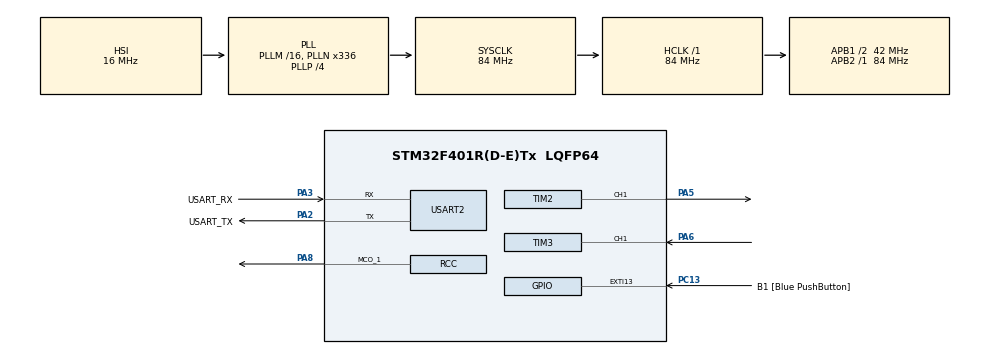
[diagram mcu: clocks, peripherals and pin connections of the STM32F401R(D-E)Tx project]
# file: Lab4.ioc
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Mcu.Family=STM32F4
Mcu.Name=STM32F401R(D-E)Tx
Mcu.Package=LQFP64
NVIC.PriorityGroup=NVIC_PRIORITYGROUP_4
NVIC.TIM1_UP_TIM10_IRQn=true\:0\:0\:false\:false\:true\:true\:true\:true
NVIC.TIM3_IRQn=true\:0\:0\:false\:false\:true\:true\:true\:true
PA13.GPIO_Label=TMS
PA13.Mode=Trace_Asynchronous_SW
PA13.Signal=SYS_JTMS-SWDIO
PA14.GPIO_Label=TCK
PA14.Mode=Trace_Asynchronous_SW
PA14.Signal=SYS_JTCK-SWCLK
PA2.GPIO_Label=USART_TX
PA2.GPIO_Mode=GPIO_MODE_AF_PP
PA2.GPIO_PuPd=GPIO_NOPULL
PA2.GPIO_Speed=GPIO_SPEED_FREQ_LOW
PA2.Mode=Asynchronous
PA2.Signal=USART2_TX
PA3.GPIO_Label=USART_RX
PA3.GPIO_Mode=GPIO_MODE_AF_PP
PA3.GPIO_PuPd=GPIO_NOPULL
PA3.GPIO_Speed=GPIO_SPEED_FREQ_LOW
PA3.Mode=Asynchronous
PA3.Signal=USART2_RX
PA5.Signal=S_TIM2_CH1_ETR
PA6.GPIO_PuPd=GPIO_PULLDOWN
PA6.Signal=S_TIM3_CH1
PA8.Mode=Clock-out-1
PA8.Signal=RCC_MCO_1
PB3.GPIO_Label=SWO
PB3.Mode=Trace_Asynchronous_SW
PB3.Signal=SYS_JTDO-SWO
PC13-ANTI_TAMP.GPIO_Label=B1 [Blue PushButton]
PC13-ANTI_TAMP.GPIO_ModeDefaultEXTI=GPIO_MODE_IT_FALLING
PC13-ANTI_TAMP.GPIO_PuPd=GPIO_NOPULL
PC13-ANTI_TAMP.Signal=GPXTI13
PC14-OSC32_IN.Mode=LSE-External-Oscillator
PC14-OSC32_IN.Signal=RCC_OSC32_IN
PC15-OSC32_OUT.Mode=LSE-External-Oscillator
PC15-OSC32_OUT.Signal=RCC_OSC32_OUT
PH0\ -\ OSC_IN.Mode=HSE-External-Clock-Source
PH0\ -\ OSC_IN.Signal=RCC_OSC_IN
PH1\ -\ OSC_OUT.Mode=HSE-External-Clock-Source
PH1\ -\ OSC_OUT.Signal=RCC_OSC_OUT
ProjectManager.HeapSize=0x200
ProjectManager.StackSize=0x400
ProjectManager.TargetToolchain=STM32CubeIDE
RCC.48MHZClocksFreq_Value=48000000
RCC.AHBFreq_Value=84000000
RCC.APB1CLKDivider=RCC_HCLK_DIV2
RCC.APB1Freq_Value=42000000
RCC.APB1TimFreq_Value=84000000
RCC.APB2Freq_Value=84000000
RCC.APB2TimFreq_Value=84000000
RCC.CortexFreq_Value=84000000
RCC.HCLKFreq_Value=84000000
RCC.HSE_VALUE=8000000
RCC.HSI_VALUE=16000000
RCC.PLLN=336
RCC.PLLP=RCC_PLLP_DIV4
RCC.PLLQ=7
RCC.SYSCLKFreq_VALUE=84000000
RCC.SYSCLKSource=RCC_SYSCLKSOURCE_PLLCLK
RCC.VCOOutputFreq_Value=336000000
SH.S_TIM2_CH1_ETR.0=TIM2_CH1,PWM Generation1 CH1
SH.S_TIM3_CH1.0=TIM3_CH1,Input_Capture1_from_TI1
TIM10.Prescaler=8399
TIM2.Channel-PWM\ Generation1\ CH1=TIM_CHANNEL_1
TIM2.Period=1999
TIM2.Prescaler=5
TIM2.Pulse-PWM\ Generation1\ CH1=1000
TIM3.Channel-Input_Capture1_from_TI1=TIM_CHANNEL_1
USART2.VirtualMode=VM_ASYNC
VP_TIM10_VS_ClockSourceINT.Mode=Enable_Timer
VP_TIM2_VS_ClockSourceINT.Mode=Internal
VP_TIM3_VS_ClockSourceINT.Mode=Internal
board=NUCLEO-F401RE

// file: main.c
/* USER CODE BEGIN Header */
/**
  ******************************************************************************
  * @file           : main.c
  * @brief          : Main program body
  ******************************************************************************
  * @attention
  *
  * Copyright (c) 2026 STMicroelectronics.
  * All rights reserved.
  *
  * This software is licensed under terms that can be found in the LICENSE file
  * in the root directory of this software component.
  * If no LICENSE file comes with this software, it is provided AS-IS.
  *
  ******************************************************************************
  */
/* USER CODE END Header */
#include "main.h"

/* USER CODE BEGIN Includes */
#include <stdio.h>
/* USER CODE END Includes */

TIM_HandleTypeDef htim2;
TIM_HandleTypeDef htim3;
TIM_HandleTypeDef htim10;

UART_HandleTypeDef huart2;

/* USER CODE BEGIN PV */
uint32_t IC_Value1 = 0;
uint32_t IC_Value2 = 0;
uint32_t Difference = 0;
uint32_t Frequency = 0;
uint8_t Is_First_Captured = 0;
uint32_t LastCaptureTime = 0;

char command_buffer[50]; // Bufor na tekst komendy
int set_freq = 0;        // Częstotliwość zadana przez usera
int set_duty = 0;        // Wypełnienie zadane przez usera
uint32_t timer_clock = 84000000;
/* USER CODE END PV */

void SystemClock_Config(void);
static void MX_GPIO_Init(void);
static void MX_USART2_UART_Init(void);
static void MX_TIM2_Init(void);
static void MX_TIM3_Init(void);
static void MX_TIM10_Init(void);
/* USER CODE BEGIN PFP */
int _write(int file, char *ptr, int len) {
    HAL_UART_Transmit(&huart2, (uint8_t*)ptr, len, 50);
    return len;
}

int _read(int file, char *ptr, int len) {
    HAL_StatusTypeDef status = HAL_UART_Receive(&huart2, (uint8_t*)ptr, 1, HAL_MAX_DELAY);
    if (status == HAL_OK) {
        return 1;
    }
    return 0;
}
/* USER CODE END PFP */

int main(void)
{

  /* MCU Configuration--------------------------------------------------------*/

  /* Reset of all peripherals, Initializes the Flash interface and the Systick. */
  HAL_Init();

  /* Configure the system clock */
  SystemClock_Config();

  /* Initialize all configured peripherals */
  MX_GPIO_Init();
  MX_USART2_UART_Init();
  MX_TIM2_Init();
  MX_TIM3_Init();
  MX_TIM10_Init();
  /* USER CODE BEGIN 2 */
  HAL_TIM_PWM_Start(&htim2, TIM_CHANNEL_1);
    __HAL_TIM_SET_COMPARE(&htim2, TIM_CHANNEL_1, 500);

    HAL_TIM_IC_Start_IT(&htim3, TIM_CHANNEL_1);
  /* USER CODE END 2 */

  /* Infinite loop */
    /* USER CODE BEGIN WHILE */
      while (1)
      {
        scanf("%s %d %d", command_buffer, &set_freq, &set_duty);

        if (strcmp(command_buffer, "Generate") == 0)
        {
            if (set_freq < 1) set_freq = 1;
            if (set_duty < 0) set_duty = 0;
            if (set_duty > 100) set_duty = 100;

            uint32_t new_arr = (timer_clock / set_freq) - 1;

            uint32_t new_ccr = (new_arr + 1) * set_duty / 100;

            __HAL_TIM_SET_AUTORELOAD(&htim2, new_arr);
            __HAL_TIM_SET_COMPARE(&htim2, TIM_CHANNEL_1, new_ccr);

            __HAL_TIM_SET_COUNTER(&htim2, 0);

            printf("\r\Ustawiono: %d Hz, %d%%\r\n", set_freq, set_duty);
        }
        else
        {
            printf("\r\nNieznana komenda. Sprobuj: Generate 1000 50\r\n");
        }

        HAL_Delay(100);
        printf(">> POMIAR: Freq = %lu Hz\r\n", Frequency);

        memset(command_buffer, 0, sizeof(command_buffer));

    /* USER CODE END WHILE */

  }
}

void SystemClock_Config(void)
{
  RCC_OscInitTypeDef RCC_OscInitStruct = {0};
  RCC_ClkInitTypeDef RCC_ClkInitStruct = {0};

  /** Configure the main internal regulator output voltage
  */
  __HAL_RCC_PWR_CLK_ENABLE();
  __HAL_PWR_VOLTAGESCALING_CONFIG(PWR_REGULATOR_VOLTAGE_SCALE2);

  /** Initializes the RCC Oscillators according to the specified parameters
  * in the RCC_OscInitTypeDef structure.
  */
  RCC_OscInitStruct.OscillatorType = RCC_OSCILLATORTYPE_HSI;
  RCC_OscInitStruct.HSIState = RCC_HSI_ON;
  RCC_OscInitStruct.HSICalibrationValue = RCC_HSICALIBRATION_DEFAULT;
  RCC_OscInitStruct.PLL.PLLState = RCC_PLL_ON;
  RCC_OscInitStruct.PLL.PLLSource = RCC_PLLSOURCE_HSI;
  RCC_OscInitStruct.PLL.PLLM = 16;
  RCC_OscInitStruct.PLL.PLLN = 336;
  RCC_OscInitStruct.PLL.PLLP = RCC_PLLP_DIV4;
  RCC_OscInitStruct.PLL.PLLQ = 7;
  if (HAL_RCC_OscConfig(&RCC_OscInitStruct) != HAL_OK)
  {
    Error_Handler();
  }

  /** Initializes the CPU, AHB and APB buses clocks
  */
  RCC_ClkInitStruct.ClockType = RCC_CLOCKTYPE_HCLK|RCC_CLOCKTYPE_SYSCLK
                              |RCC_CLOCKTYPE_PCLK1|RCC_CLOCKTYPE_PCLK2;
  RCC_ClkInitStruct.SYSCLKSource = RCC_SYSCLKSOURCE_PLLCLK;
  RCC_ClkInitStruct.AHBCLKDivider = RCC_SYSCLK_DIV1;
  RCC_ClkInitStruct.APB1CLKDivider = RCC_HCLK_DIV2;
  RCC_ClkInitStruct.APB2CLKDivider = RCC_HCLK_DIV1;

  if (HAL_RCC_ClockConfig(&RCC_ClkInitStruct, FLASH_LATENCY_2) != HAL_OK)
  {
    Error_Handler();
  }
  HAL_RCC_MCOConfig(RCC_MCO1, RCC_MCO1SOURCE_HSI, RCC_MCODIV_1);
}

static void MX_TIM2_Init(void)
{

  TIM_ClockConfigTypeDef sClockSourceConfig = {0};
  TIM_MasterConfigTypeDef sMasterConfig = {0};
  TIM_OC_InitTypeDef sConfigOC = {0};

  htim2.Instance = TIM2;
  htim2.Init.Prescaler = 5;
  htim2.Init.CounterMode = TIM_COUNTERMODE_UP;
  htim2.Init.Period = 1999;
  htim2.Init.ClockDivision = TIM_CLOCKDIVISION_DIV1;
  htim2.Init.AutoReloadPreload = TIM_AUTORELOAD_PRELOAD_DISABLE;
  if (HAL_TIM_Base_Init(&htim2) != HAL_OK)
  {
    Error_Handler();
  }
  sClockSourceConfig.ClockSource = TIM_CLOCKSOURCE_INTERNAL;
  if (HAL_TIM_ConfigClockSource(&htim2, &sClockSourceConfig) != HAL_OK)
  {
    Error_Handler();
  }
  if (HAL_TIM_PWM_Init(&htim2) != HAL_OK)
  {
    Error_Handler();
  }
  sMasterConfig.MasterOutputTrigger = TIM_TRGO_RESET;
  sMasterConfig.MasterSlaveMode = TIM_MASTERSLAVEMODE_DISABLE;
  if (HAL_TIMEx_MasterConfigSynchronization(&htim2, &sMasterConfig) != HAL_OK)
  {
    Error_Handler();
  }
  sConfigOC.OCMode = TIM_OCMODE_PWM1;
  sConfigOC.Pulse = 1000;
  sConfigOC.OCPolarity = TIM_OCPOLARITY_HIGH;
  sConfigOC.OCFastMode = TIM_OCFAST_DISABLE;
  if (HAL_TIM_PWM_ConfigChannel(&htim2, &sConfigOC, TIM_CHANNEL_1) != HAL_OK)
  {
    Error_Handler();
  }
  HAL_TIM_MspPostInit(&htim2);

}

static void MX_TIM3_Init(void)
{

  TIM_ClockConfigTypeDef sClockSourceConfig = {0};
  TIM_MasterConfigTypeDef sMasterConfig = {0};
  TIM_IC_InitTypeDef sConfigIC = {0};

  htim3.Instance = TIM3;
  htim3.Init.Prescaler = 0;
  htim3.Init.CounterMode = TIM_COUNTERMODE_UP;
  htim3.Init.Period = 65535;
  htim3.Init.ClockDivision = TIM_CLOCKDIVISION_DIV1;
  htim3.Init.AutoReloadPreload = TIM_AUTORELOAD_PRELOAD_DISABLE;
  if (HAL_TIM_Base_Init(&htim3) != HAL_OK)
  {
    Error_Handler();
  }
  sClockSourceConfig.ClockSource = TIM_CLOCKSOURCE_INTERNAL;
  if (HAL_TIM_ConfigClockSource(&htim3, &sClockSourceConfig) != HAL_OK)
  {
    Error_Handler();
  }
  if (HAL_TIM_IC_Init(&htim3) != HAL_OK)
  {
    Error_Handler();
  }
  sMasterConfig.MasterOutputTrigger = TIM_TRGO_RESET;
  sMasterConfig.MasterSlaveMode = TIM_MASTERSLAVEMODE_DISABLE;
  if (HAL_TIMEx_MasterConfigSynchronization(&htim3, &sMasterConfig) != HAL_OK)
  {
    Error_Handler();
  }
  sConfigIC.ICPolarity = TIM_INPUTCHANNELPOLARITY_RISING;
  sConfigIC.ICSelection = TIM_ICSELECTION_DIRECTTI;
  sConfigIC.ICPrescaler = TIM_ICPSC_DIV1;
  sConfigIC.ICFilter = 0;
  if (HAL_TIM_IC_ConfigChannel(&htim3, &sConfigIC, TIM_CHANNEL_1) != HAL_OK)
  {
    Error_Handler();
  }

}

static void MX_TIM10_Init(void)
{

  htim10.Instance = TIM10;
  htim10.Init.Prescaler = 8399;
  htim10.Init.CounterMode = TIM_COUNTERMODE_UP;
  htim10.Init.Period = 65535;
  htim10.Init.ClockDivision = TIM_CLOCKDIVISION_DIV1;
  htim10.Init.AutoReloadPreload = TIM_AUTORELOAD_PRELOAD_DISABLE;
  if (HAL_TIM_Base_Init(&htim10) != HAL_OK)
  {
    Error_Handler();
  }

}

static void MX_USART2_UART_Init(void)
{

  huart2.Instance = USART2;
  huart2.Init.BaudRate = 115200;
  huart2.Init.WordLength = UART_WORDLENGTH_8B;
  huart2.Init.StopBits = UART_STOPBITS_1;
  huart2.Init.Parity = UART_PARITY_NONE;
  huart2.Init.Mode = UART_MODE_TX_RX;
  huart2.Init.HwFlowCtl = UART_HWCONTROL_NONE;
  huart2.Init.OverSampling = UART_OVERSAMPLING_16;
  if (HAL_UART_Init(&huart2) != HAL_OK)
  {
    Error_Handler();
  }

}

static void MX_GPIO_Init(void)
{
  GPIO_InitTypeDef GPIO_InitStruct = {0};

  /* GPIO Ports Clock Enable */
  __HAL_RCC_GPIOC_CLK_ENABLE();
  __HAL_RCC_GPIOH_CLK_ENABLE();
  __HAL_RCC_GPIOA_CLK_ENABLE();
  __HAL_RCC_GPIOB_CLK_ENABLE();

  /*Configure GPIO pin : B1_Pin */
  GPIO_InitStruct.Pin = B1_Pin;
  GPIO_InitStruct.Mode = GPIO_MODE_IT_FALLING;
  GPIO_InitStruct.Pull = GPIO_NOPULL;
  HAL_GPIO_Init(B1_GPIO_Port, &GPIO_InitStruct);

  /*Configure GPIO pin : PA8 */
  GPIO_InitStruct.Pin = GPIO_PIN_8;
  GPIO_InitStruct.Mode = GPIO_MODE_AF_PP;
  GPIO_InitStruct.Pull = GPIO_NOPULL;
  GPIO_InitStruct.Speed = GPIO_SPEED_FREQ_LOW;
  GPIO_InitStruct.Alternate = GPIO_AF0_MCO;
  HAL_GPIO_Init(GPIOA, &GPIO_InitStruct);

}

/* USER CODE BEGIN 4 */
void HAL_TIM_IC_CaptureCallback(TIM_HandleTypeDef *htim)
{
	if (htim->Channel == HAL_TIM_ACTIVE_CHANNEL_1)  // Sprawdzamy, czy to nasz kanał
	{
		if (Is_First_Captured == 0) // Pierwsze zbocze
		{
			IC_Value1 = HAL_TIM_ReadCapturedValue(htim, TIM_CHANNEL_1); // Zapisujemy czas startu
			Is_First_Captured = 1;  // Czekamy na drugie
		}
		else // Drugie zbocze
		{
			IC_Value2 = HAL_TIM_ReadCapturedValue(htim, TIM_CHANNEL_1); // Zapisujemy czas stopu

			if (IC_Value2 > IC_Value1)
			{
				Difference = IC_Value2 - IC_Value1;
			}
			else if (IC_Value1 > IC_Value2)
			{
				Difference = (0xFFFF - IC_Value1) + IC_Value2; // Obsługa przekręcenia licznika
			}

			// Obliczenie częstotliwości: Zegar Timera / Różnica
			// Dla F401RE Timer 3 na APB1 ma zegar 84MHz (jeśli HCLK=84MHz)
			// Jeśli Difference jest różne od zera
			if (Difference != 0)
			{
				Frequency = HAL_RCC_GetPCLK1Freq() * 2 / Difference;
			}

			Is_First_Captured = 0; // Reset, gotowi na nowy pomiar
		}
		LastCaptureTime = HAL_GetTick();
	}
}
/* USER CODE END 4 */

void Error_Handler(void)
{
  __disable_irq();
  while (1)
  {
  }
}
